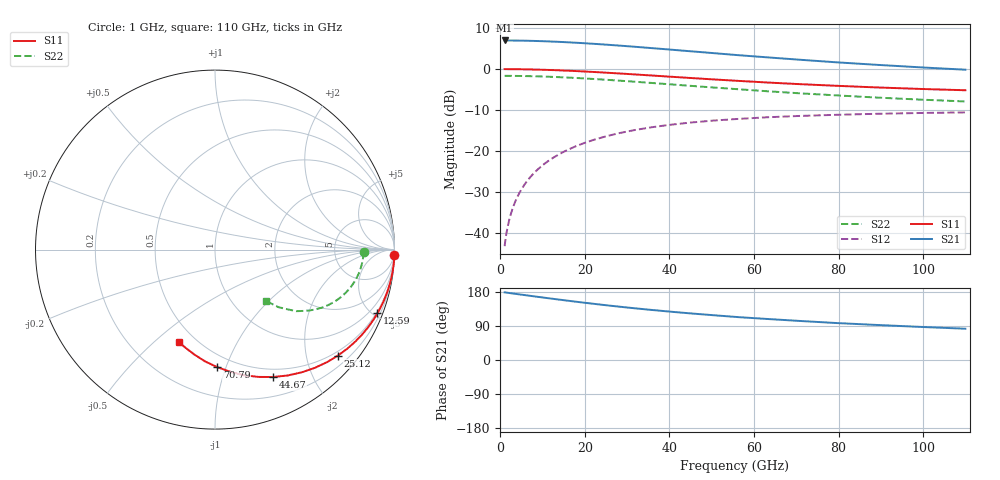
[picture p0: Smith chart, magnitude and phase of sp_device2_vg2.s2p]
! Touchstone Ver. 1.0
! Number of ports is 2
# Hz	S	RI	R	50.000000
! SCATTERING PARAMETERS  :
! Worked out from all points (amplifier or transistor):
!   42 points, 1 GHz to 110 GHz, reference 50 ohm
!   highest |S21| = 7.0 dB at 1 GHz (marker M1)
!   |S21| within 3 dB of that: start of sweep to 49.22 GHz
!   unconditionally stable (mu >= 1): 90.52 GHz to end of sweep
!   at 2.239 GHz: K = 0.03, MSG = 21.7 dB, |S12| = -36.3 dB
!   at 11.22 GHz: K = 0.13, MSG = 14.7 dB, |S12| = -22.6 dB
!   at 110 GHz: K = 1.18, MAG = 2.7 dB, |S12| = -10.6 dB
!   S11 on the Smith chart (normalised r, x): 1 GHz: 0, -66; 12.59 GHz: 0.41, -5.25; 25.12 GHz: 0.41, -2.63; 44.67 GHz: 0.41, -1.48; 70.79 GHz: 0.41, -0.93; 110 GHz: 0.41, -0.60
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1e9  0.9994 -0.0302  -2.241 0.0594  0.000145 0.00682  0.8276 -0.014
1.258925e9  0.999 -0.0381  -2.24 0.0747  0.000229 0.00859  0.8274 -0.0176
1.584893e9  0.9984 -0.0479  -2.239 0.0941  0.000363 0.0108  0.8271 -0.0221
2.238721e9  0.9968 -0.0678  -2.236 0.1331  0.000727 0.0153  0.8264 -0.0314
3.162278e9  0.9936 -0.0952  -2.23 0.187  0.00144 0.0215  0.825 -0.044
4.466836e9  0.9873 -0.1339  -2.217 0.263  0.00286 0.0302  0.8222 -0.0619
6.309573e9  0.9748 -0.1875  -2.193 0.3682  0.00566 0.0423  0.8167 -0.0866
7.943282e9  0.9605 -0.2337  -2.164 0.4588  0.00888 0.0527  0.8103 -0.108
1e10  0.9384 -0.2895  -2.121 0.5683  0.0138 0.0653  0.8004 -0.1339
1.258925e10  0.9048 -0.3554  -2.054 0.6976  0.0214 0.0802  0.7855 -0.1645
1.584893e10  0.8548 -0.4306  -1.956 0.8449  0.0326 0.0972  0.7632 -0.1997
1.995262e10  0.7828 -0.5115  -1.814 1.003  0.0488 0.1155  0.7311 -0.2378
2.511886e10  0.684 -0.5911  -1.618 1.159  0.0711 0.1336  0.687 -0.2759
3.162278e10  0.5567 -0.6586  -1.367 1.29  0.0997 0.1489  0.6302 -0.3094
3.981072e10  0.4057 -0.7012  -1.069 1.371  0.1336 0.1587  0.5627 -0.3327
4.466836e10  0.3248 -0.71  -0.9098 1.387  0.1518 0.1608  0.5264 -0.3391
5.623413e10  0.1601 -0.7002  -0.5832 1.362  0.1887 0.1578  0.452 -0.3431
7.079458e10  0.0125 -0.6547  -0.2945 1.269  0.2222 0.1491  0.3852 -0.3283
7.943282e10  -0.0553 -0.623  -0.1598 1.201  0.2373 0.1411  0.3537 -0.3208
8.912509e10  -0.1132 -0.5859  -0.0478 1.127  0.2505 0.1341  0.3269 -0.3071
1e11  -0.1654 -0.5464  0.054 1.045  0.2624 0.1255  0.302 -0.2951
1.1e11  -0.2031 -0.5125  0.1275 0.9755  0.2709 0.1182  0.2835 -0.285
